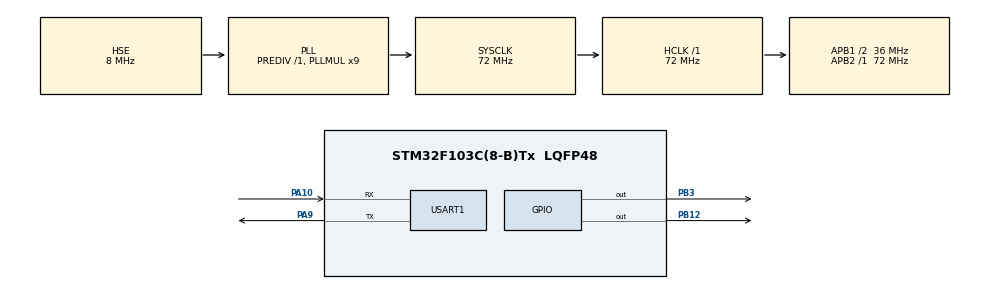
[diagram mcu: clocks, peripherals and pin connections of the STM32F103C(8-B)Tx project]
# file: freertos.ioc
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Dma.Request0=USART1_RX
Dma.USART1_RX.0.Direction=DMA_PERIPH_TO_MEMORY
Dma.USART1_RX.0.Instance=DMA1_Channel5
Dma.USART1_RX.0.MemDataAlignment=DMA_MDATAALIGN_BYTE
Dma.USART1_RX.0.MemInc=DMA_MINC_ENABLE
Dma.USART1_RX.0.Mode=DMA_CIRCULAR
Dma.USART1_RX.0.PeriphDataAlignment=DMA_PDATAALIGN_BYTE
Dma.USART1_RX.0.PeriphInc=DMA_PINC_DISABLE
Dma.USART1_RX.0.Priority=DMA_PRIORITY_LOW
FREERTOS.Queues01=myQueue01,5,uint8_t,0,Dynamic,NULL,NULL
FREERTOS.Tasks01=led0,24,128,StartDefaultTask,Default,NULL,Dynamic,NULL,NULL;led1,8,128,StartTask02,Default,NULL,Dynamic,NULL,NULL
FREERTOS.configUSE_NEWLIB_REENTRANT=1
Mcu.Family=STM32F1
Mcu.Name=STM32F103C(8-B)Tx
Mcu.Package=LQFP48
NVIC.DMA1_Channel5_IRQn=true\:5\:0\:false\:false\:true\:true\:false\:true\:true
NVIC.PriorityGroup=NVIC_PRIORITYGROUP_4
NVIC.TIM4_IRQn=true\:15\:0\:false\:false\:true\:false\:false\:true\:true
NVIC.TimeBase=TIM4_IRQn
NVIC.TimeBaseIP=TIM4
NVIC.USART1_IRQn=true\:5\:0\:false\:false\:true\:true\:true\:true\:true
PA10.Mode=Asynchronous
PA10.Signal=USART1_RX
PA13.Mode=Serial_Wire
PA13.Signal=SYS_JTMS-SWDIO
PA14.Mode=Serial_Wire
PA14.Signal=SYS_JTCK-SWCLK
PA9.Mode=Asynchronous
PA9.Signal=USART1_TX
PB12.PinState=GPIO_PIN_SET
PB12.Signal=GPIO_Output
PB3.PinState=GPIO_PIN_SET
PB3.Signal=GPIO_Output
PD0-OSC_IN.Mode=HSE-External-Oscillator
PD0-OSC_IN.Signal=RCC_OSC_IN
PD1-OSC_OUT.Mode=HSE-External-Oscillator
PD1-OSC_OUT.Signal=RCC_OSC_OUT
ProjectManager.HeapSize=0x200
ProjectManager.StackSize=0x400
ProjectManager.TargetToolchain=STM32CubeIDE
RCC.AHBFreq_Value=72000000
RCC.APB1CLKDivider=RCC_HCLK_DIV2
RCC.APB1Freq_Value=36000000
RCC.APB1TimFreq_Value=72000000
RCC.APB2Freq_Value=72000000
RCC.APB2TimFreq_Value=72000000
RCC.HCLKFreq_Value=72000000
RCC.PLLMUL=RCC_PLL_MUL9
RCC.PLLSourceVirtual=RCC_PLLSOURCE_HSE
RCC.SYSCLKFreq_VALUE=72000000
RCC.SYSCLKSource=RCC_SYSCLKSOURCE_PLLCLK
RCC.USBFreq_Value=72000000
USART1.VirtualMode=VM_ASYNC
VP_FREERTOS_VS_CMSIS_V2.Mode=CMSIS_V2
VP_SYS_VS_tim4.Mode=TIM4
board=custom

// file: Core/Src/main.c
/* USER CODE BEGIN Header */
/**
  ******************************************************************************
  * @file           : main.c
  * @brief          : Main program body
  ******************************************************************************
  * @attention
  *
  * Copyright (c) 2024 STMicroelectronics.
  * All rights reserved.
  *
  * This software is licensed under terms that can be found in the LICENSE file
  * in the root directory of this software component.
  * If no LICENSE file comes with this software, it is provided AS-IS.
  *
  ******************************************************************************
  */
/* USER CODE END Header */
#include "main.h"
#include "cmsis_os.h"
#include "dma.h"
#include "usart.h"
#include "gpio.h"

/* USER CODE BEGIN PV */
bool is_uart_receive=false;
/* USER CODE END PV */

void SystemClock_Config(void);
void MX_FREERTOS_Init(void);
/* USER CODE BEGIN PFP */
int __io_putchar(int ch){
	HAL_UART_Transmit(&huart1,(uint8_t*)&ch,1,100);
	return 0;
}

/* USER CODE END PFP */

int main(void)
{

  /* MCU Configuration--------------------------------------------------------*/

  /* Reset of all peripherals, Initializes the Flash interface and the Systick. */
  HAL_Init();

  /* Configure the system clock */
  SystemClock_Config();

  /* Initialize all configured peripherals */
  MX_GPIO_Init();
  MX_DMA_Init();
  MX_USART1_UART_Init();

  /* Init scheduler */
  osKernelInitialize();

  /* Call init function for freertos objects (in freertos.c) */
  MX_FREERTOS_Init();

  /* Start scheduler */
  osKernelStart();

  /* We should never get here as control is now taken by the scheduler */
  /* Infinite loop */
  while (1)
  {

  }
}

void SystemClock_Config(void)
{
  RCC_OscInitTypeDef RCC_OscInitStruct = {0};
  RCC_ClkInitTypeDef RCC_ClkInitStruct = {0};

  /** Initializes the RCC Oscillators according to the specified parameters
  * in the RCC_OscInitTypeDef structure.
  */
  RCC_OscInitStruct.OscillatorType = RCC_OSCILLATORTYPE_HSE;
  RCC_OscInitStruct.HSEState = RCC_HSE_ON;
  RCC_OscInitStruct.HSEPredivValue = RCC_HSE_PREDIV_DIV1;
  RCC_OscInitStruct.HSIState = RCC_HSI_ON;
  RCC_OscInitStruct.PLL.PLLState = RCC_PLL_ON;
  RCC_OscInitStruct.PLL.PLLSource = RCC_PLLSOURCE_HSE;
  RCC_OscInitStruct.PLL.PLLMUL = RCC_PLL_MUL9;
  if (HAL_RCC_OscConfig(&RCC_OscInitStruct) != HAL_OK)
  {
    Error_Handler();
  }

  /** Initializes the CPU, AHB and APB buses clocks
  */
  RCC_ClkInitStruct.ClockType = RCC_CLOCKTYPE_HCLK|RCC_CLOCKTYPE_SYSCLK
                              |RCC_CLOCKTYPE_PCLK1|RCC_CLOCKTYPE_PCLK2;
  RCC_ClkInitStruct.SYSCLKSource = RCC_SYSCLKSOURCE_PLLCLK;
  RCC_ClkInitStruct.AHBCLKDivider = RCC_SYSCLK_DIV1;
  RCC_ClkInitStruct.APB1CLKDivider = RCC_HCLK_DIV2;
  RCC_ClkInitStruct.APB2CLKDivider = RCC_HCLK_DIV1;

  if (HAL_RCC_ClockConfig(&RCC_ClkInitStruct, FLASH_LATENCY_2) != HAL_OK)
  {
    Error_Handler();
  }
}

void HAL_TIM_PeriodElapsedCallback(TIM_HandleTypeDef *htim)
{
  if (htim->Instance == TIM4) {
    HAL_IncTick();
  }
}

void Error_Handler(void)
{
  __disable_irq();
  while (1)
  {
  }
}

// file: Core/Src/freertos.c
/* USER CODE BEGIN Header */
/**
  ******************************************************************************
  * File Name          : freertos.c
  * Description        : Code for freertos applications
  ******************************************************************************
  * @attention
  *
  * Copyright (c) 2024 STMicroelectronics.
  * All rights reserved.
  *
  * This software is licensed under terms that can be found in the LICENSE file
  * in the root directory of this software component.
  * If no LICENSE file comes with this software, it is provided AS-IS.
  *
  ******************************************************************************
  */
/* USER CODE END Header */

#include "FreeRTOS.h"
#include "task.h"
#include "main.h"
#include "cmsis_os.h"

/* USER CODE BEGIN Variables */
extern bool is_uart_receive;
extern UART_HandleTypeDef huart1;
bool task_send=false;
/* USER CODE END Variables */
/* Definitions for led0 */
osThreadId_t led0Handle;
const osThreadAttr_t led0_attributes = {
  .name = "led0",
  .stack_size = 128 * 4,
  .priority = (osPriority_t) osPriorityNormal,
};
/* Definitions for led1 */
osThreadId_t led1Handle;
const osThreadAttr_t led1_attributes = {
  .name = "led1",
  .stack_size = 128 * 4,
  .priority = (osPriority_t) osPriorityLow,
};
/* Definitions for myQueue01 */
osMessageQueueId_t myQueue01Handle;
const osMessageQueueAttr_t myQueue01_attributes = {
  .name = "myQueue01"
};

void StartDefaultTask(void *argument);
void StartTask02(void *argument);

void MX_FREERTOS_Init(void); /* (MISRA C 2004 rule 8.1) */

void MX_FREERTOS_Init(void) {

  /* Create the queue(s) */
  /* creation of myQueue01 */
  myQueue01Handle = osMessageQueueNew (5, sizeof(uint8_t), &myQueue01_attributes);

  /* Create the thread(s) */
  /* creation of led0 */
  led0Handle = osThreadNew(StartDefaultTask, NULL, &led0_attributes);

  /* creation of led1 */
  led1Handle = osThreadNew(StartTask02, NULL, &led1_attributes);

}

void StartDefaultTask(void *argument)
{
  /* USER CODE BEGIN StartDefaultTask */
	uint32_t pretime=HAL_GetTick();
	uint8_t receive_val;
	uint8_t receive_queue_priority;
  /* Infinite loop */
  for(;;)
  {

	if(HAL_GetTick()-pretime>50){
		HAL_GPIO_TogglePin(GPIOB,GPIO_PIN_3);
		pretime=HAL_GetTick();
	}
	if(task_send){
		osMessageQueueGet(myQueue01Handle,&receive_val,&receive_queue_priority,10);
		printf("task1-1) current receive val:%c\n",receive_val);
		task_send=false;
	}
    osDelay(1);
  }
  /* USER CODE END StartDefaultTask */
}

void StartTask02(void *argument)
{
  /* USER CODE BEGIN StartTask02 */
	uint32_t pretime=HAL_GetTick();
	uint8_t send_val;
  /* Infinite loop */
  for(;;)
  {

	  HAL_UART_Receive(&huart1,&send_val,1,100);

	  if(send_val!=0){
		  printf("\x1B[2J");
		  printf("task2-1) transmit val:%c\n",send_val);
		  is_uart_receive=false;
		  osMessageQueuePut(myQueue01Handle,&send_val,1,10);
		  task_send=true;
		  send_val=0;
	  }
	  if(HAL_GetTick()-pretime>300){
	  	HAL_GPIO_TogglePin(GPIOB,GPIO_PIN_12);
	  	pretime=HAL_GetTick();
	}

    osDelay(1);
  }
  /* USER CODE END StartTask02 */
}
